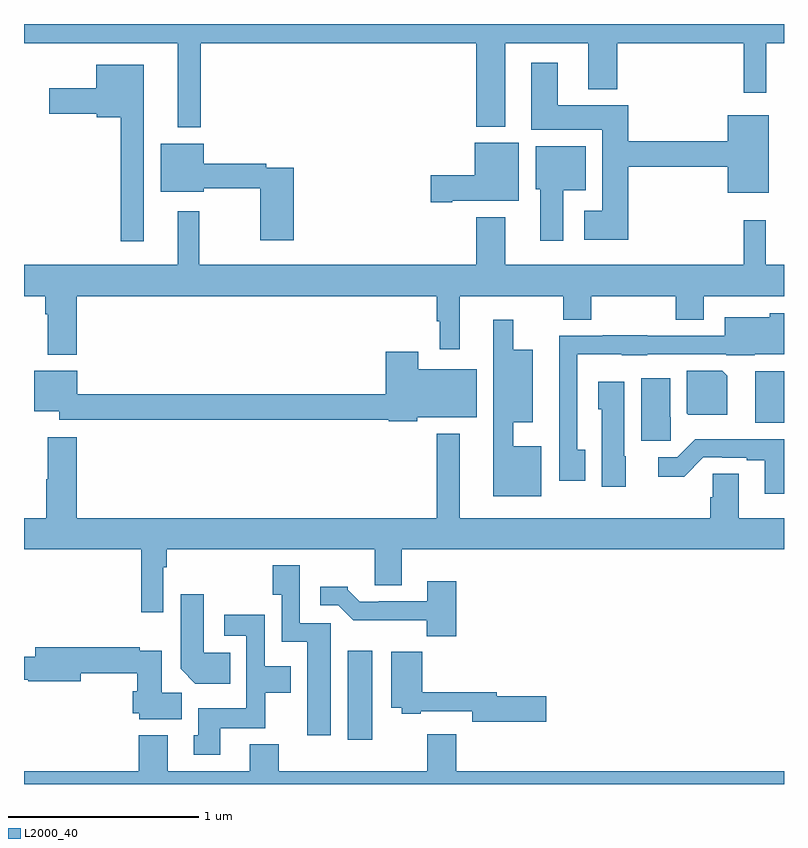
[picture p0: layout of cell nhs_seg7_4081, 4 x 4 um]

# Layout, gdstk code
import gdstk
lib = gdstk.Library(unit=1e-6, precision=1e-09)
def R(c, l, rs):  # rectangles x0, y0, x1, y1
    for r in rs: c.add(gdstk.rectangle(r[:2], r[2:], *l))
def P(c, l, *ps):  # polygons
    for p in ps: c.add(gdstk.Polygon(p, *l))
L2000_40 = (2000, 40)

nhs_seg7_4081 = lib.new_cell('nhs_seg7_4081')
R(nhs_seg7_4081, L2000_40, [(370.703,1046.232,370.834,1046.701), (372.848,1047.902,373,1048.172)])
P(nhs_seg7_4081, L2000_40, [(369.931,1049.9),(371.381,1049.9),(371.381,1049.459),(371.533,1049.459),(371.533,1049.9),(371.969,1049.9),(371.969,1049.657),(372.122,1049.657),(372.122,1049.9),(372.787,1049.9),(372.787,1049.637),(372.906,1049.637),(372.906,1049.9),(373,1049.9),(373,1050),(369,1050),(369,1049.9),(369.809,1049.9),(369.809,1049.456),(369.931,1049.456)],
  [(372.179,1049.248),(372.704,1049.248),(372.704,1049.111),(372.919,1049.111),(372.919,1049.521),(372.704,1049.521),(372.704,1049.384),(372.179,1049.384),(372.179,1049.572),(371.809,1049.572),(371.809,1049.797),(371.669,1049.797),(371.669,1049.444),(372.044,1049.444),(372.044,1049.017),(371.949,1049.017),(371.949,1048.865),(372.179,1048.865)],
  [(369.631,1049.785),(369.38,1049.785),(369.38,1049.662),(369.132,1049.662),(369.132,1049.528),(369.384,1049.528),(369.384,1049.51),(369.51,1049.51),(369.51,1048.857),(369.631,1048.857)],
  [(371.254,1049.069),(371.605,1049.069),(371.605,1049.374),(371.372,1049.374),(371.372,1049.204),(371.142,1049.204),(371.142,1049.062),(371.254,1049.062)],
  [(370.421,1049.244),(370.274,1049.244),(370.274,1049.264),(369.946,1049.264),(369.946,1049.371),(369.719,1049.371),(369.719,1049.117),(369.946,1049.117),(369.946,1049.136),(370.243,1049.136),(370.243,1048.863),(370.421,1048.863)],
  [(371.839,1049.126),(371.956,1049.126),(371.956,1049.356),(371.693,1049.356),(371.693,1049.13),(371.717,1049.13),(371.717,1048.86),(371.839,1048.86)],
  [(369.278,1048.568),(371.172,1048.568),(371.172,1048.436),(371.189,1048.436),(371.189,1048.287),(371.293,1048.287),(371.293,1048.568),(371.837,1048.568),(371.837,1048.444),(371.985,1048.444),(371.985,1048.568),(372.43,1048.568),(372.43,1048.444),(372.577,1048.444),(372.577,1048.568),(373,1048.568),(373,1048.732),(372.905,1048.732),(372.905,1048.966),(372.787,1048.966),(372.787,1048.732),(371.533,1048.732),(371.533,1048.984),(371.381,1048.984),(371.381,1048.732),(369.923,1048.732),(369.923,1049.014),(369.809,1049.014),(369.809,1048.732),(369,1048.732),(369,1048.568),(369.113,1048.568),(369.113,1048.472),(369.125,1048.472),(369.125,1048.259),(369.278,1048.259)],
  [(371.953,1047.758),(371.913,1047.758),(371.913,1048.262),(372.147,1048.262),(372.147,1048.256),(372.279,1048.256),(372.279,1048.263),(372.696,1048.263),(372.696,1048.256),(372.846,1048.256),(372.846,1048.262),(373,1048.262),(373,1048.477),(372.924,1048.477),(372.924,1048.456),(372.689,1048.456),(372.689,1048.359),(372.279,1048.359),(372.279,1048.361),(372.047,1048.361),(372.047,1048.359),(371.816,1048.359),(371.816,1047.597),(371.953,1047.597)],
  [(371.722,1047.778),(371.575,1047.778),(371.575,1047.905),(371.677,1047.905),(371.677,1048.285),(371.575,1048.285),(371.575,1048.444),(371.471,1048.444),(371.471,1047.515),(371.722,1047.515)],
  [(371.07,1047.929),(371.383,1047.929),(371.383,1048.183),(371.074,1048.183),(371.074,1048.276),(370.904,1048.276),(370.904,1048.052),(369.28,1048.052),(369.28,1048.174),(369.053,1048.174),(369.053,1047.962),(369.186,1047.962),(369.186,1047.916),(370.92,1047.916),(370.92,1047.908),(371.07,1047.908)],
  [(372.7,1048.148),(372.674,1048.174),(372.488,1048.174),(372.488,1047.952),(372.496,1047.944),(372.7,1047.944)],
  [(372.404,1047.93),(372.4,1047.93),(372.4,1048.135),(372.248,1048.135),(372.248,1047.807),(372.404,1047.807)],
  [(372.166,1047.726),(372.16,1047.726),(372.16,1048.117),(372.023,1048.117),(372.023,1047.972),(372.041,1047.972),(372.041,1047.564),(372.166,1047.564)],
  [(369.732,1047.14),(369.752,1047.14),(369.752,1047.236),(370.847,1047.236),(370.847,1047.046),(370.987,1047.046),(370.987,1047.236),(373,1047.236),(373,1047.4),(372.763,1047.4),(372.763,1047.632),(372.624,1047.632),(372.624,1047.51),(372.611,1047.51),(372.611,1047.4),(371.293,1047.4),(371.293,1047.844),(371.172,1047.844),(371.172,1047.4),(369.278,1047.4),(369.278,1047.826),(369.125,1047.826),(369.125,1047.605),(369.118,1047.605),(369.118,1047.4),(369,1047.4),(369,1047.236),(369.616,1047.236),(369.616,1046.904),(369.732,1046.904)],
  [(373,1047.815),(372.533,1047.815),(372.438,1047.72),(372.339,1047.72),(372.339,1047.618),(372.474,1047.618),(372.576,1047.72),(372.676,1047.72),(372.676,1047.717),(372.803,1047.717),(372.803,1047.705),(372.899,1047.705),(372.899,1047.528),(373,1047.528)],
  [(370.615,1046.847),(370.452,1046.847),(370.452,1047.151),(370.309,1047.151),(370.309,1046.995),(370.356,1046.995),(370.356,1046.75),(370.49,1046.75),(370.49,1046.256),(370.615,1046.256)],
  [(371.276,1047.067),(371.123,1047.067),(371.123,1046.961),(370.867,1046.961),(370.867,1046.958),(370.768,1046.958),(370.704,1047.022),(370.704,1047.037),(370.56,1047.037),(370.56,1046.94),(370.653,1046.94),(370.732,1046.862),(371.121,1046.862),(371.121,1046.777),(371.276,1046.777)],
  [(370.085,1046.692),(369.946,1046.692),(369.946,1046.998),(369.824,1046.998),(369.824,1046.606),(369.902,1046.528),(370.085,1046.528)],
  [(370.033,1046.294),(370.269,1046.294),(370.269,1046.48),(370.405,1046.48),(370.405,1046.62),(370.266,1046.62),(370.266,1046.89),(370.053,1046.89),(370.053,1046.781),(370.17,1046.781),(370.17,1046.398),(369.917,1046.398),(369.917,1046.256),(369.893,1046.256),(369.893,1046.154),(370.033,1046.154)],
  [(369.829,1046.48),(369.724,1046.48),(369.724,1046.702),(369.608,1046.702),(369.608,1046.72),(369.059,1046.72),(369.059,1046.671),(369,1046.671),(369,1046.549),(369.022,1046.549),(369.022,1046.542),(369.298,1046.542),(369.298,1046.584),(369.595,1046.584),(369.595,1046.487),(369.572,1046.487),(369.572,1046.373),(369.606,1046.373),(369.606,1046.342),(369.829,1046.342)],
  [(371.749,1046.462),(371.488,1046.462),(371.488,1046.483),(371.096,1046.483),(371.096,1046.695),(370.934,1046.695),(370.934,1046.402),(370.989,1046.402),(370.989,1046.37),(371.089,1046.37),(371.089,1046.382),(371.36,1046.382),(371.36,1046.327),(371.749,1046.327)],
  [(373,1046.068),(371.276,1046.068),(371.276,1046.263),(371.123,1046.263),(371.123,1046.068),(370.34,1046.068),(370.34,1046.209),(370.187,1046.209),(370.187,1046.068),(369.757,1046.068),(369.757,1046.257),(369.605,1046.257),(369.605,1046.068),(369,1046.068),(369,1046),(373,1046)])

lib.write_gds('nhs_seg7_4081.gds')
